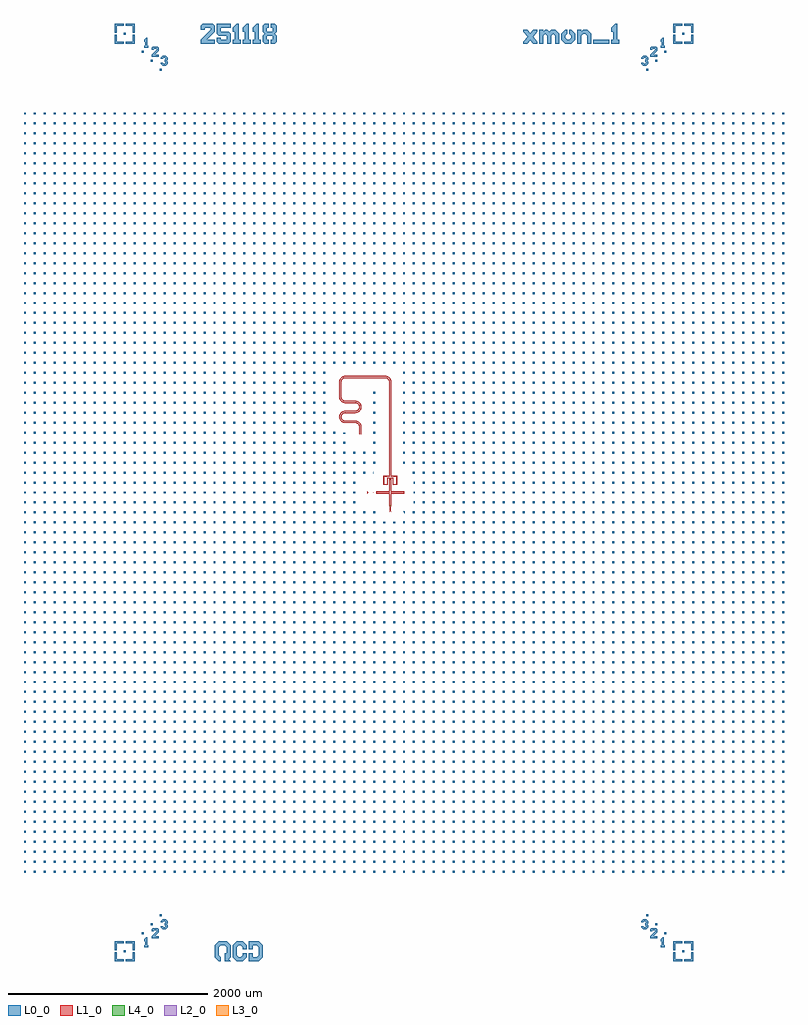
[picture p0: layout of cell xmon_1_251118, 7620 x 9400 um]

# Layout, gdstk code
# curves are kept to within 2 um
import gdstk
lib = gdstk.Library(unit=1e-6, precision=1e-09)
def R(c, l, rs):  # rectangles x0, y0, x1, y1
    for r in rs: c.add(gdstk.rectangle(r[:2], r[2:], *l))
def A(c, l, x, y, w, h, nx, ny, dx, dy):  # array of equal rectangles
    R(c, l, [(x+i*dx, y+j*dy, x+i*dx+w, y+j*dy+h) for i in range(nx) for j in range(ny)])
def P(c, l, *ps):  # polygons
    for p in ps: c.add(gdstk.Polygon(p, *l))
L0_0 = (0, 0)
L1_0 = (1, 0)
L2_0 = (2, 0)
L3_0 = (3, 0)
L4_0 = (4, 0)

remarks = lib.new_cell('remarks')
R(remarks, L0_0, [(-2810,-4610,-2790,-4590), (2790,-4610,2810,-4590), (-2630,-4430,-2610,-4410), (2610,-4430,2630,-4410), (-2540,-4340,-2520,-4320), (2520,-4340,2540,-4320), (-2450,-4250,-2430,-4230), (2430,-4250,2450,-4230), (-2450,4230,-2430,4250), (2430,4230,2450,4250), (-2540,4320,-2520,4340), (2520,4320,2540,4340), (-2630,4410,-2610,4430), (2610,4410,2630,4430), (1896.667,4500,2056.667,4540), (-2810,4590,-2790,4610), (2790,4590,2810,4610)])
P(remarks, L0_0, [(1196.667,4500),(1196.667,4520),(1238.267,4570),(1196.667,4620),(1196.667,4640),(1236.667,4640),(1266.667,4604),(1296.667,4640),(1336.667,4640),(1336.667,4620),(1295.067,4570),(1336.667,4520),(1336.667,4500),(1296.667,4500),(1266.667,4536),(1236.667,4500)],
  [(1356.667,4500),(1356.667,4640),(1396.667,4640),(1396.667,4620),(1416.667,4640),(1436.667,4640),(1456.667,4620),(1476.667,4640),(1516.667,4640),(1556.667,4600),(1556.667,4500),(1516.667,4500),(1516.667,4580),(1496.667,4600),(1476.667,4580),(1476.667,4500),(1436.667,4500),(1436.667,4580),(1416.667,4600),(1396.667,4580),(1396.667,4500)],
  [(1616.667,4500),(1576.667,4540),(1576.667,4600),(1616.667,4640),(1636.667,4640),(1636.667,4600),(1616.667,4580),(1616.667,4560),(1636.667,4540),(1656.667,4540),(1676.667,4560),(1676.667,4580),(1656.667,4600),(1656.667,4640),(1676.667,4640),(1716.667,4600),(1716.667,4540),(1676.667,4500)],
  [(1736.667,4500),(1736.667,4640),(1776.667,4640),(1776.667,4620),(1796.667,4640),(1836.667,4640),(1876.667,4600),(1876.667,4500),(1836.667,4500),(1836.667,4580),(1816.667,4600),(1796.667,4600),(1776.667,4580),(1776.667,4500)],
  [(2076.667,4500),(2076.667,4540),(2096.667,4540),(2096.667,4620),(2076.667,4620),(2076.667,4660),(2116.667,4700),(2136.667,4700),(2136.667,4540),(2156.667,4540),(2156.667,4500)],
  [(-2036.667,4500),(-2036.667,4540),(-1936.667,4640),(-1936.667,4660),(-1996.667,4660),(-1996.667,4640),(-2036.667,4640),(-2036.667,4680),(-2016.667,4700),(-1916.667,4700),(-1896.667,4680),(-1896.667,4620),(-1976.667,4540),(-1896.667,4540),(-1896.667,4500)],
  [(-1856.667,4500),(-1876.667,4520),(-1876.667,4560),(-1836.667,4560),(-1836.667,4540),(-1776.667,4540),(-1776.667,4580),(-1856.667,4580),(-1876.667,4600),(-1876.667,4700),(-1736.667,4700),(-1736.667,4660),(-1836.667,4660),(-1836.667,4620),(-1756.667,4620),(-1736.667,4600),(-1736.667,4520),(-1756.667,4500)],
  [(-1716.667,4500),(-1716.667,4540),(-1696.667,4540),(-1696.667,4620),(-1716.667,4620),(-1716.667,4660),(-1676.667,4700),(-1656.667,4700),(-1656.667,4540),(-1636.667,4540),(-1636.667,4500)],
  [(-1616.667,4500),(-1616.667,4540),(-1596.667,4540),(-1596.667,4620),(-1616.667,4620),(-1616.667,4660),(-1576.667,4700),(-1556.667,4700),(-1556.667,4540),(-1536.667,4540),(-1536.667,4500)],
  [(-1516.667,4500),(-1516.667,4540),(-1496.667,4540),(-1496.667,4620),(-1516.667,4620),(-1516.667,4660),(-1476.667,4700),(-1456.667,4700),(-1456.667,4540),(-1436.667,4540),(-1436.667,4500)],
  [(-1396.667,4500),(-1416.667,4520),(-1416.667,4580),(-1396.667,4600),(-1416.667,4620),(-1416.667,4680),(-1396.667,4700),(-1356.667,4700),(-1356.667,4660),(-1376.667,4660),(-1376.667,4620),(-1316.667,4620),(-1316.667,4660),(-1336.667,4660),(-1336.667,4700),(-1296.667,4700),(-1276.667,4680),(-1276.667,4620),(-1296.667,4600),(-1276.667,4580),(-1276.667,4520),(-1296.667,4500),(-1336.667,4500),(-1336.667,4540),(-1316.667,4540),(-1316.667,4580),(-1376.667,4580),(-1376.667,4540),(-1356.667,4540),(-1356.667,4500)],
  [(-1856.667,-4700),(-1896.667,-4660),(-1896.667,-4540),(-1856.667,-4500),(-1776.667,-4500),(-1736.667,-4540),(-1736.667,-4660),(-1756.667,-4680),(-1736.667,-4700),(-1796.667,-4700),(-1796.667,-4620),(-1776.667,-4620),(-1776.667,-4560),(-1796.667,-4540),(-1836.667,-4540),(-1856.667,-4560),(-1856.667,-4640),(-1836.667,-4660),(-1836.667,-4700)],
  [(-1676.667,-4700),(-1716.667,-4660),(-1716.667,-4540),(-1676.667,-4500),(-1616.667,-4500),(-1576.667,-4540),(-1576.667,-4580),(-1616.667,-4580),(-1616.667,-4560),(-1636.667,-4540),(-1656.667,-4540),(-1676.667,-4560),(-1676.667,-4640),(-1656.667,-4660),(-1636.667,-4660),(-1616.667,-4640),(-1616.667,-4620),(-1576.667,-4620),(-1576.667,-4660),(-1616.667,-4700)],
  [(-1556.667,-4700),(-1556.667,-4620),(-1516.667,-4620),(-1516.667,-4660),(-1476.667,-4660),(-1456.667,-4640),(-1456.667,-4560),(-1476.667,-4540),(-1516.667,-4540),(-1516.667,-4580),(-1556.667,-4580),(-1556.667,-4500),(-1456.667,-4500),(-1416.667,-4540),(-1416.667,-4660),(-1456.667,-4700)],
  [(-2900,-4590),(-2900,-4500),(-2810,-4500),(-2810,-4520),(-2880,-4520),(-2880,-4590)],
  [(-2900,4500),(-2900,4590),(-2880,4590),(-2880,4520),(-2810,4520),(-2810,4500)],
  [(2810,4500),(2810,4520),(2880,4520),(2880,4590),(2900,4590),(2900,4500)],
  [(2880,-4590),(2880,-4520),(2810,-4520),(2810,-4500),(2900,-4500),(2900,-4590)],
  [(-2900,-4700),(-2900,-4610),(-2880,-4610),(-2880,-4680),(-2810,-4680),(-2810,-4700)],
  [(-2900,4610),(-2900,4700),(-2810,4700),(-2810,4680),(-2880,4680),(-2880,4610)],
  [(2880,4610),(2880,4680),(2810,4680),(2810,4700),(2900,4700),(2900,4610)],
  [(2810,-4700),(2810,-4680),(2880,-4680),(2880,-4610),(2900,-4610),(2900,-4700)],
  [(-2790,-4700),(-2790,-4680),(-2720,-4680),(-2720,-4610),(-2700,-4610),(-2700,-4700)],
  [(-2720,4610),(-2720,4680),(-2790,4680),(-2790,4700),(-2700,4700),(-2700,4610)],
  [(2700,4610),(2700,4700),(2790,4700),(2790,4680),(2720,4680),(2720,4610)],
  [(2700,-4700),(2700,-4610),(2720,-4610),(2720,-4680),(2790,-4680),(2790,-4700)],
  [(-2720,-4590),(-2720,-4520),(-2790,-4520),(-2790,-4500),(-2700,-4500),(-2700,-4590)],
  [(-2790,4500),(-2790,4520),(-2720,4520),(-2720,4590),(-2700,4590),(-2700,4500)],
  [(2700,4500),(2700,4590),(2720,4590),(2720,4520),(2790,4520),(2790,4500)],
  [(2700,-4590),(2700,-4500),(2790,-4500),(2790,-4520),(2720,-4520),(2720,-4590)],
  [(-2605,-4560),(-2605,-4540),(-2595,-4540),(-2595,-4500),(-2605,-4500),(-2605,-4480),(-2585,-4460),(-2575,-4460),(-2575,-4540),(-2565,-4540),(-2565,-4560)],
  [(-2605,4460),(-2605,4480),(-2595,4480),(-2595,4520),(-2605,4520),(-2605,4540),(-2585,4560),(-2575,4560),(-2575,4480),(-2565,4480),(-2565,4460)],
  [(2575,4460),(2575,4480),(2585,4480),(2585,4520),(2575,4520),(2575,4540),(2595,4560),(2605,4560),(2605,4480),(2615,4480),(2615,4460)],
  [(2575,-4560),(2575,-4540),(2585,-4540),(2585,-4500),(2575,-4500),(2575,-4480),(2595,-4460),(2605,-4460),(2605,-4540),(2615,-4540),(2615,-4560)],
  [(-2530,-4470),(-2530,-4450),(-2480,-4400),(-2480,-4390),(-2510,-4390),(-2510,-4400),(-2530,-4400),(-2530,-4380),(-2520,-4370),(-2470,-4370),(-2460,-4380),(-2460,-4410),(-2500,-4450),(-2460,-4450),(-2460,-4470)],
  [(-2530,4370),(-2530,4390),(-2480,4440),(-2480,4450),(-2510,4450),(-2510,4440),(-2530,4440),(-2530,4460),(-2520,4470),(-2470,4470),(-2460,4460),(-2460,4430),(-2500,4390),(-2460,4390),(-2460,4370)],
  [(2470,4370),(2470,4390),(2520,4440),(2520,4450),(2490,4450),(2490,4440),(2470,4440),(2470,4460),(2480,4470),(2530,4470),(2540,4460),(2540,4430),(2500,4390),(2540,4390),(2540,4370)],
  [(2470,-4470),(2470,-4450),(2520,-4400),(2520,-4390),(2490,-4390),(2490,-4400),(2470,-4400),(2470,-4380),(2480,-4370),(2530,-4370),(2540,-4380),(2540,-4410),(2500,-4450),(2540,-4450),(2540,-4470)],
  [(-2420,-4380),(-2440,-4360),(-2440,-4350),(-2420,-4350),(-2410,-4360),(-2400,-4360),(-2390,-4350),(-2400,-4340),(-2400,-4320),(-2390,-4310),(-2400,-4300),(-2410,-4300),(-2420,-4310),(-2440,-4310),(-2440,-4300),(-2420,-4280),(-2390,-4280),(-2370,-4300),(-2370,-4320),(-2380,-4330),(-2370,-4340),(-2370,-4360),(-2390,-4380)],
  [(-2420,4280),(-2440,4300),(-2440,4310),(-2420,4310),(-2410,4300),(-2400,4300),(-2390,4310),(-2400,4320),(-2400,4340),(-2390,4350),(-2400,4360),(-2410,4360),(-2420,4350),(-2440,4350),(-2440,4360),(-2420,4380),(-2390,4380),(-2370,4360),(-2370,4340),(-2380,4330),(-2370,4320),(-2370,4300),(-2390,4280)],
  [(2400,4280),(2380,4300),(2380,4310),(2400,4310),(2410,4300),(2420,4300),(2430,4310),(2420,4320),(2420,4340),(2430,4350),(2420,4360),(2410,4360),(2400,4350),(2380,4350),(2380,4360),(2400,4380),(2430,4380),(2450,4360),(2450,4340),(2440,4330),(2450,4320),(2450,4300),(2430,4280)],
  [(2400,-4380),(2380,-4360),(2380,-4350),(2400,-4350),(2410,-4360),(2420,-4360),(2430,-4350),(2420,-4340),(2420,-4320),(2430,-4310),(2420,-4300),(2410,-4300),(2400,-4310),(2380,-4310),(2380,-4300),(2400,-4280),(2430,-4280),(2450,-4300),(2450,-4320),(2440,-4330),(2450,-4340),(2450,-4360),(2430,-4380)])

nb_inv = lib.new_cell('Nb_inv')
R(nb_inv, L1_0, [(-142.5,-183,-139.5,-139), (-136.5,-183,-133.5,-139), (-144.5,-142,-142.5,-139), (-136.5,-139,-133.5,-136), (-148,-136,-128,-133), (-356,-4.5,-306,-1.5), (-309,-1.5,-306,1.5), (-356,1.5,-306,4.5), (-149,158,-143,1108), (-133,158,-127,1108), (-449,586.319,-443,658), (-433,586.319,-427,658), (-588,697,-488,703), (-588,713,-488,719), (-588,797,-488,803), (-588,813,-488,819), (-588,897,-488,903), (-588,913,-488,919), (-649,958,-643,1108), (-633,958,-627,1108), (-588,1147,-188,1153), (-588,1163,-188,1169)])
P(nb_inv, L1_0, [(-150,-130),(-150,-12),(-276,-12),(-276,12),(-150,12),(-150,138),(-126,138),(-126,12),(0,12),(0,-12),(-126,-12),(-126,-130),(-134,-130),(-134,-4),(-8,-4),(-8,4),(-134,4),(-134,130),(-142,130),(-142,4),(-268,4),(-268,-4),(-142,-4),(-142,-130)],
  [(-150,-138),(-150,-130),(-139.5,-130),(-139.5,-131.7),(-136.5,-131.7),(-136.5,-130),(-126,-130),(-126,-138),(-133.6,-138),(-133.6,-136.3),(-142.4,-136.3),(-142.4,-138)],
  [(-149,-193),(-142.5,-183),(-139.5,-183),(-143,-193)],
  [(-133,-193),(-136.5,-183),(-133.5,-183),(-127,-193)],
  [(-356,1.5),(-366,5),(-366,11),(-356,4.5)],
  [(-366,-11),(-366,-5),(-356,-1.5),(-356,-4.5)],
  [(-208,78),(-208,168),(-149,168),(-149,158),(-198,158),(-198,83),(-168,83),(-168,148),(-138,148),(-138,143),(-163,143),(-163,78)],
  [(-113,78),(-113,143),(-138,143),(-138,148),(-108,148),(-108,83),(-78,83),(-78,158),(-127,158),(-127,168),(-68,168),(-68,78)],
  [(-133,1108),(-133.836,1117.551),(-136.317,1126.811),(-140.369,1135.5),(-145.868,1143.353),(-156.453,1153.053),(-164.756,1157.847),(-173.765,1161.126),(-188,1163),(-188,1169),(-177.407,1168.073),(-162.22,1163.285),(-148.79,1154.729),(-141.271,1147.21),(-132.715,1133.78),(-127.927,1118.593),(-127,1108)],
  [(-149,1108),(-149.592,1114.772),(-151.352,1121.339),(-154.225,1127.5),(-158.124,1133.069),(-162.931,1137.876),(-171.518,1143.346),(-181.228,1146.408),(-188,1147),(-188,1153),(-176.353,1151.467),(-168.982,1148.784),(-162.189,1144.862),(-153.528,1136.925),(-147.216,1127.018),(-143.684,1115.814),(-143,1108)],
  [(-649,1108),(-648.073,1118.593),(-643.285,1133.78),(-637.968,1142.988),(-631.134,1151.134),(-622.988,1157.968),(-613.78,1163.285),(-598.593,1168.073),(-588,1169),(-588,1163),(-602.235,1161.126),(-611.244,1157.847),(-619.547,1153.053),(-626.891,1146.891),(-633.053,1139.547),(-637.847,1131.244),(-641.126,1122.235),(-643,1108)],
  [(-633,1108),(-631.467,1119.647),(-628.784,1127.018),(-624.862,1133.811),(-619.82,1139.82),(-613.811,1144.862),(-607.018,1148.784),(-599.647,1151.467),(-588,1153),(-588,1147),(-594.772,1146.408),(-601.339,1144.648),(-607.5,1141.775),(-615.577,1135.577),(-621.775,1127.5),(-624.648,1121.339),(-626.408,1114.772),(-627,1108)],
  [(-588,897),(-598.593,897.927),(-613.78,902.715),(-622.988,908.032),(-631.134,914.866),(-637.968,923.012),(-643.285,932.22),(-648.073,947.407),(-649,958),(-643,958),(-641.126,943.765),(-637.847,934.756),(-633.053,926.453),(-626.891,919.109),(-619.547,912.947),(-611.244,908.153),(-602.235,904.874),(-588,903)],
  [(-588,913),(-599.647,914.533),(-607.018,917.216),(-613.811,921.138),(-619.82,926.18),(-624.862,932.189),(-628.784,938.982),(-631.467,946.353),(-633,958),(-627,958),(-626.408,951.228),(-624.648,944.661),(-621.775,938.5),(-615.577,930.423),(-607.5,924.225),(-601.339,921.352),(-594.772,919.592),(-588,919)],
  [(-433,858),(-433.836,867.551),(-436.317,876.811),(-440.369,885.5),(-445.868,893.353),(-456.453,903.053),(-464.756,907.847),(-473.765,911.126),(-488,913),(-488,919),(-477.407,918.073),(-462.22,913.285),(-448.79,904.729),(-441.271,897.21),(-432.715,883.78),(-427.927,868.593),(-427,858)],
  [(-449,858),(-449.592,864.772),(-451.352,871.339),(-454.225,877.5),(-458.124,883.069),(-462.931,887.876),(-471.518,893.346),(-481.228,896.408),(-488,897),(-488,903),(-476.353,901.467),(-468.982,898.784),(-462.189,894.862),(-453.528,886.925),(-447.216,877.018),(-443.684,865.814),(-443,858)],
  [(-488,797),(-488,803),(-473.765,804.874),(-464.756,808.153),(-456.453,812.947),(-449.109,819.109),(-442.947,826.453),(-438.153,834.756),(-434.874,843.765),(-433,858),(-427,858),(-427.927,847.407),(-432.715,832.22),(-438.032,823.012),(-444.866,814.866),(-453.012,808.032),(-462.22,802.715),(-477.407,797.927)],
  [(-488,813),(-488,819),(-481.228,819.592),(-474.661,821.352),(-468.5,824.225),(-460.423,830.423),(-454.225,838.5),(-451.352,844.661),(-449.592,851.228),(-449,858),(-443,858),(-444.533,846.353),(-447.216,838.982),(-451.138,832.189),(-456.18,826.18),(-462.189,821.138),(-468.982,817.216),(-476.353,814.533)],
  [(-649,758),(-648.073,768.593),(-643.285,783.78),(-637.968,792.988),(-631.134,801.134),(-622.988,807.968),(-613.78,813.285),(-598.593,818.073),(-588,819),(-588,813),(-602.235,811.126),(-611.244,807.847),(-619.547,803.053),(-626.891,796.891),(-633.053,789.547),(-637.847,781.244),(-641.126,772.235),(-643,758)],
  [(-633,758),(-631.467,769.647),(-628.784,777.018),(-624.862,783.811),(-619.82,789.82),(-613.811,794.862),(-607.018,798.784),(-599.647,801.467),(-588,803),(-588,797),(-594.772,796.408),(-601.339,794.648),(-607.5,791.775),(-615.577,785.577),(-621.775,777.5),(-624.648,771.339),(-626.408,764.772),(-627,758)],
  [(-588,697),(-598.593,697.927),(-613.78,702.715),(-622.988,708.032),(-631.134,714.866),(-637.968,723.012),(-643.285,732.22),(-648.073,747.407),(-649,758),(-643,758),(-641.126,743.765),(-637.847,734.756),(-633.053,726.453),(-626.891,719.109),(-619.547,712.947),(-611.244,708.153),(-602.235,704.874),(-588,703)],
  [(-588,713),(-599.647,714.533),(-607.018,717.216),(-613.811,721.138),(-619.82,726.18),(-624.862,732.189),(-628.784,738.982),(-631.467,746.353),(-633,758),(-627,758),(-626.408,751.228),(-624.648,744.661),(-621.775,738.5),(-615.577,730.423),(-607.5,724.225),(-601.339,721.352),(-594.772,719.592),(-588,719)],
  [(-433,658),(-433.836,667.551),(-436.317,676.811),(-440.369,685.5),(-445.868,693.353),(-456.453,703.053),(-464.756,707.847),(-473.765,711.126),(-488,713),(-488,719),(-477.407,718.073),(-462.22,713.285),(-448.79,704.729),(-441.271,697.21),(-432.715,683.78),(-427.927,668.593),(-427,658)],
  [(-449,658),(-449.592,664.772),(-451.352,671.339),(-454.225,677.5),(-458.124,683.069),(-462.931,687.876),(-471.518,693.346),(-481.228,696.408),(-488,697),(-488,703),(-476.353,701.467),(-468.982,698.784),(-462.189,694.862),(-453.528,686.925),(-447.216,677.018),(-443.684,665.814),(-443,658)])

jj1 = lib.new_cell('JJ1')
R(jj1, L2_0, [(-143.1,-137.3,-142.9,-130.7), (-133.1,-137.3,-132.9,-130.7), (-144.1,-132.4,-131.9,-132.2)])

ghost1 = lib.new_cell('Ghost1')
R(ghost1, L3_0, [(-143.2,-138.1,-142.8,-137.1), (-133.2,-138.1,-132.8,-137.1), (-144.9,-132.5,-143.9,-132.1), (-132.1,-132.5,-131.1,-132.1), (-143.2,-130.9,-142.8,-129.9), (-133.2,-130.9,-132.8,-129.9)])

patch = lib.new_cell('Patch')
R(patch, L4_0, [(-143.6,-137.8,-140.9,-136.3), (-135.1,-137.8,-132.4,-136.3), (-138.75,-132.9,-137.25,-130.2)])

unnamed_249 = lib.new_cell('Unnamed_249')
A(unnamed_249, L0_0, -3810, -3810, 20, 20, 77, 35, 100, 100)
A(unnamed_249, L0_0, -3810, -310, 20, 20, 36, 2, 100, 100)
A(unnamed_249, L0_0, -10, -310, 20, 20, 39, 2, 100, 600)
A(unnamed_249, L0_0, 90, -210, 20, 20, 38, 2, 100, 400)
A(unnamed_249, L0_0, -3810, -110, 20, 20, 34, 3, 100, 100)
A(unnamed_249, L0_0, 100, -110, 10, 20, 1, 3, 0, 100)
A(unnamed_249, L0_0, 190, -110, 20, 20, 37, 3, 100, 100)
A(unnamed_249, L0_0, -3810, 190, 20, 20, 35, 1, 100, 0)
A(unnamed_249, L0_0, -3810, 290, 20, 20, 36, 2, 100, 100)
A(unnamed_249, L0_0, -10, 390, 20, 20, 39, 9, 100, 100)
A(unnamed_249, L0_0, -3810, 490, 20, 20, 33, 1, 100, 0)
A(unnamed_249, L0_0, -310, 490, 20, 20, 1, 6, 0, 100)
A(unnamed_249, L0_0, -3810, 590, 20, 20, 32, 1, 100, 0)
A(unnamed_249, L0_0, -3810, 690, 20, 20, 31, 6, 100, 100)
A(unnamed_249, L0_0, -3810, 1290, 20, 20, 77, 26, 100, 100)
R(unnamed_249, L0_0, [(-210,-310,-190,-293), (-110,-310,-90,-293), (-310,190,-308,210)])
P(unnamed_249, L0_0, [(3.318,-210),(-9.682,-190),(10,-190),(10,-210)],
  [(-610,590),(-610,598.566),(-602.043,597.518),(-590.181,597),(-590.172,597),(-590,596.992),(-590,590)])

xmon_1_251118 = lib.new_cell('xmon_1_251118')
xmon_1_251118.add(gdstk.Reference(remarks, (0,0)))
xmon_1_251118.add(gdstk.Reference(nb_inv, (0,0)))
xmon_1_251118.add(gdstk.Reference(jj1, (0,0)))
xmon_1_251118.add(gdstk.Reference(ghost1, (0,0)))
xmon_1_251118.add(gdstk.Reference(patch, (0,0)))
xmon_1_251118.add(gdstk.Reference(unnamed_249, (0,0)))

lib.write_gds('xmon_1_251118.gds')
